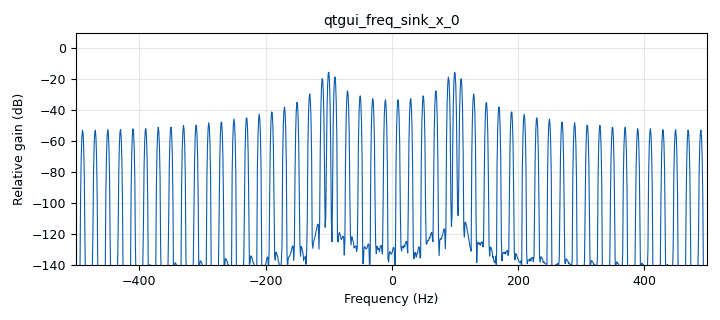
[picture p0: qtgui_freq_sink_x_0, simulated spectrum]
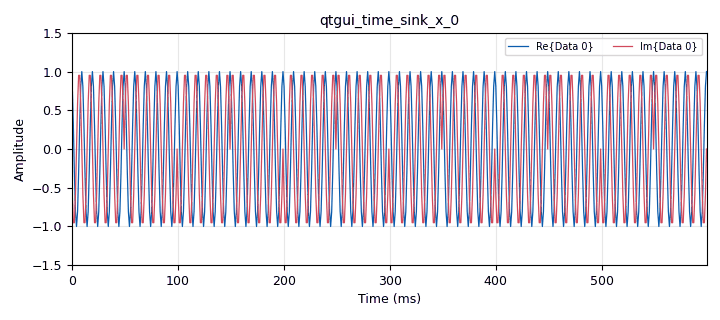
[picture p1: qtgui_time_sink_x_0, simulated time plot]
<?xml version='1.0' encoding='utf-8'?>
<?grc format='1' created='3.7.7'?>
<flow_graph>
<block>
<key>analog_sig_source_x</key>
<param><key>id</key><value>analog_sig_source_x_0</value></param>
<param><key>type</key><value>short</value></param>
<param><key>samp_rate</key><value>samp_rate</value></param>
<param><key>waveform</key><value>analog.GR_SQR_WAVE</value></param>
<param><key>freq</key><value>freq</value></param>
<param><key>amp</key><value>256</value></param>
<param><key>offset</key><value>0</value></param>
</block>
<block>
<key>variable</key>
<param><key>id</key><value>samp_rate</value></param>
<param><key>value</key><value>1000</value></param>
</block>
<block>
<key>variable</key>
<param><key>id</key><value>freq</value></param>
<param><key>value</key><value>100</value></param>
</block>
<block>
<key>variable</key>
<param><key>id</key><value>K</value></param>
<param><key>value</key><value>2</value></param>
</block>
<block>
<key>blocks_short_to_char</key>
<param><key>id</key><value>blocks_short_to_char_0</value></param>
</block>
<block>
<key>blocks_throttle</key>
<param><key>id</key><value>blocks_throttle_0</value></param>
<param><key>type</key><value>byte</value></param>
<param><key>samples_per_second</key><value>samp_rate</value></param>
</block>
<block>
<key>qtgui_freq_sink_x</key>
<param><key>id</key><value>qtgui_freq_sink_x_0</value></param>
<param><key>type</key><value>complex</value></param>
<param><key>fftsize</key><value>1024</value></param>
<param><key>wintype</key><value>firdes.WIN_BLACKMAN_hARRIS</value></param>
<param><key>fc</key><value>0</value></param>
<param><key>bw</key><value>samp_rate</value></param>
<param><key>showports</key><value>True</value></param>
</block>
<block>
<key>qtgui_time_sink_x</key>
<param><key>id</key><value>qtgui_time_sink_x_0</value></param>
<param><key>type</key><value>complex</value></param>
<param><key>name</key><value></value></param>
<param><key>size</key><value>600</value></param>
<param><key>srate</key><value>samp_rate</value></param>
<param><key>ymin</key><value>-1.5</value></param>
<param><key>ymax</key><value>1.5</value></param>
<param><key>label1</key><value></value></param>
<param><key>color1</key><value>"blue"</value></param>
<param><key>label2</key><value></value></param>
<param><key>color2</key><value>"red"</value></param>
</block>
<block>
<key>analog_cpfsk_bc</key>
<param><key>id</key><value>analog_cpfsk_bc_0</value></param>
<param><key>k</key><value>K</value></param>
<param><key>amplitude</key><value>1</value></param>
<param><key>samples_per_symbol</key><value>samp_rate/freq</value></param>
</block>
<block>
<key>options</key>
<param><key>id</key><value>analog_cpfsk</value></param>
<param><key>generate_options</key><value>qt_gui</value></param>
<param><key>category</key><value>Custom</value></param>
<param><key>run_options</key><value>run</value></param>
</block>
<connection><source_block_id>analog_sig_source_x_0</source_block_id><sink_block_id>blocks_short_to_char_0</sink_block_id><source_key>0</source_key><sink_key>0</sink_key></connection>
<connection><source_block_id>blocks_short_to_char_0</source_block_id><sink_block_id>blocks_throttle_0</sink_block_id><source_key>0</source_key><sink_key>0</sink_key></connection>
<connection><source_block_id>blocks_throttle_0</source_block_id><sink_block_id>analog_cpfsk_bc_0</sink_block_id><source_key>0</source_key><sink_key>0</sink_key></connection>
<connection><source_block_id>analog_cpfsk_bc_0</source_block_id><sink_block_id>qtgui_time_sink_x_0</sink_block_id><source_key>0</source_key><sink_key>0</sink_key></connection>
<connection><source_block_id>analog_cpfsk_bc_0</source_block_id><sink_block_id>qtgui_freq_sink_x_0</sink_block_id><source_key>0</source_key><sink_key>0</sink_key></connection>
</flow_graph>
